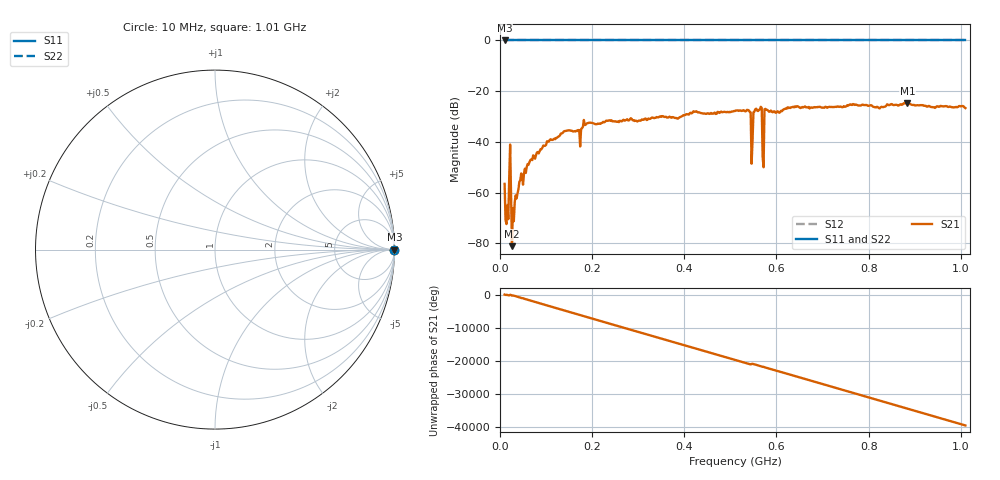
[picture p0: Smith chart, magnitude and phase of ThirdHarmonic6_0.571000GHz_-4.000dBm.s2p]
! 8/15/2025 6:20:00 PM
! C:\ANRITSUVNA\TEMP\TEMP.S2P
! CHANNEL.1
! TR.MEASUREMENT
! RAW.DATA
! RF.CORRECTION.OFF
! AVERAGING.OFF
! IF.BANDWIDTH: 5KHZ
! SWEEPTYPE:  FREQ.SWEEP(Linear)
! Reference Plane Port Info
! PORT:  PORT1  PORT2
! DISTANCE:  0  m  0  m
! TIME:  0  s  0  s
! PHASE.OFFSET:  0  deg.  0  deg.
! LOSS:  0  dB  0  dB
! REF.LOSS:  0  dB  0  dB
! REF.FREQ:  0  Hz  0  Hz
! Power Info
! POWER:  -20  dBm  -20  dBm
! EFF.POWER:  -20  dBm  -20  dBm
! SOURCE.ATTEN:  0  dB  0  dB
! TEST.ATTEN:  0  dB  0  dB
# GHZ S RI R 50.0
! FREQ.GHZ  S11RE  S11IM  S21RE  S21IM  S12RE  S12IM  S22RE  S22IM
!; PortSelection: Port_12
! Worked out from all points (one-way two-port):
!   501 points, 10 MHz to 1.01 GHz, reference 50 ohm
!   highest |S21| = -24.73 dB at 884 MHz (marker M1); lowest = -81.1 dB at 26 MHz (marker M2)
!   lowest |S11| = 0.0 dB at 10 MHz (marker M3)
!   |S11| at or under -10 dB: nowhere
!   |S22| runs from 0.0 to 0.0 dB; largest |S21 - S12| = 1.1
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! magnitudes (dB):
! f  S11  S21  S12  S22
! 10 MHz  0.0  -56.5  0.0  0.0
! 16 MHz  0.0  -65.0  0.0  0.0
! 20 MHz  0.0  -54.0  0.0  0.0
! 26 MHz  0.0  -81.1  0.0  0.0
! 30 MHz  0.0  -71.2  0.0  0.0
! 44 MHz  0.0  -55.1  0.0  0.0
! 106 MHz  0.0  -39.8  0.0  0.0
! 178 MHz  0.0  -34.6  0.0  0.0
! 344 MHz  0.0  -30.3  0.0  0.0
! 510 MHz  0.0  -27.8  0.0  0.0
! 540 MHz  0.0  -27.6  0.0  0.0
! 546 MHz  0.0  -48.6  0.0  0.0
! 550 MHz  0.0  -28.3  0.0  0.0
! 554 MHz  0.0  -27.1  0.0  0.0
! 564 MHz  0.0  -27.1  0.0  0.0
! 568 MHz  0.0  -26.6  0.0  0.0
! 574 MHz  0.0  -27.1  0.0  0.0
! 578 MHz  0.0  -27.3  0.0  0.0
! 678 MHz  0.0  -26.6  0.0  0.0
! 844 MHz  0.0  -25.5  0.0  0.0
! 884 MHz  0.0  -24.7  0.0  0.0
! 1.01 GHz  0.0  -26.7  0.0  0.0
